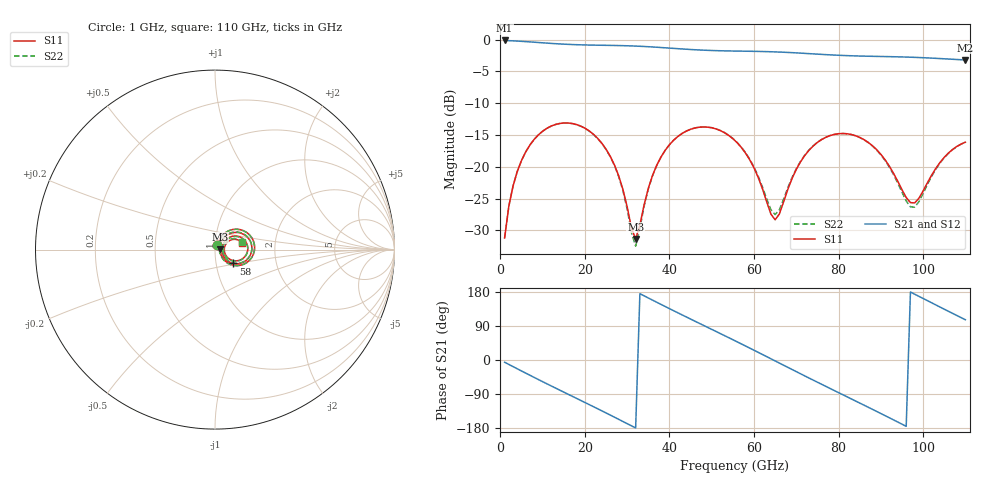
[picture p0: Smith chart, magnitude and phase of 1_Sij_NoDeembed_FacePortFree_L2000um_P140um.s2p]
! Touchstone file exported from HFSS 2024.2.0
!  File:  C:/Users/vaintrug/Documents/Ansoft_Workspace/Comparaison_Calculs_HFSS/1_VarPort.aedt
!  Generated:  03:22:18 PM Jan 21, 2025
!  Design:  1_NoDeembed_FacePortFree
!  Project:  1_VarPort
!  Setup:  Setup1
!  Solution:  Sweep
! Variables:
!  $Lenght = 2000um
!  $PortSize = 140um
!  Gap = 30um
!  Th = 2um
!  X_centralStrip = 20um
!  X_masse = 200um
!  Y_Sub = 2mm
!  Z_Box = 400um
!  Z_Sub = 200um
# GHz S MA R 50.000000
! Terminal data exported
! Port[1] = 1
! Port[2] = 2
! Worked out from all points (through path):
!   110 points, 1 GHz to 110 GHz, reference 50 ohm
!   highest |S21| = -0.13 dB at 1 GHz (marker M1); lowest = -3.2 dB at 110 GHz (marker M2)
!   group delay of S21, straight-line fit = 15.5 ps
!   lowest |S11| = -31.4 dB at 32 GHz (marker M3), VSWR 1.06, Z = 52.8 + j0.253 ohm
!   |S11| at or under -10 dB: start of sweep to end of sweep
!   |S22| runs from -32.5 to -13.1 dB; largest |S21 - S12| = 2e-15
!   S11 on the Smith chart (normalised r, x): 1 GHz: 1.03, +0.05; 58 GHz: 1.21, -0.19; 110 GHz: 1.35, +0.10
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1  0.02762 61.1  0.9854 -5.9  0.9854 -5.9  0.02761 61.1
! Gamma 5.86195813709679 50.0429598828536 5.80705193878081 49.9136504303091
! Port Impedance 50 0 50 0
3  0.07087 65.6  0.9782 -17.4  0.9782 -17.4  0.07085 65.6
7  0.1488 48.7  0.96 -40.3  0.96 -40.3  0.1487 48.6
13  0.2153 18.0  0.9298 -73.8  0.9298 -73.8  0.215 17.7
20  0.2014 -17.0  0.9086 -112.1  0.9086 -112.1  0.201 -17.5
27  0.1032 -46.2  0.8999 -151.0  0.8999 -151.0  0.1021 -47.6
32  0.02706 5.1  0.8898 -179.4  0.8898 -179.4  0.02381 6.7
35  0.06794 52.7  0.8798 163.6  0.8798 163.6  0.06711 55.7
38  0.1197 47.5  0.8672 146.7  0.8672 146.7  0.1195 49.3
43  0.1831 26.9  0.8448 119.0  0.8448 119.0  0.1833 28.1
47  0.2049 8.7  0.8298 97.1  0.8298 97.1  0.2052 9.8
51  0.1988 -9.4  0.8196 75.4  0.8196 75.4  0.1993 -8.2
56  0.1549 -30.3  0.813 48.0  0.813 48.0  0.1558 -28.9
58  0.1282 -37.1  0.8112 36.9  0.8112 36.9  0.1293 -35.4
65  0.03837 0.5  0.8011 -2.5  0.8011 -2.5  0.04216 0.4
70  0.09552 41.5  0.7869 -30.7  0.7869 -30.7  0.09682 39.5
74  0.146 30.6  0.7728 -53.1  0.7728 -53.1  0.1466 29.3
83  0.1797 -5.6  0.7469 -102.6  0.7469 -102.6  0.1795 -6.7
92  0.1014 -33.0  0.7351 -152.4  0.7351 -152.4  0.09972 -34.8
98  0.0521 5.6  0.7257 173.7  0.7257 173.7  0.04825 6.7
104  0.1084 30.7  0.7101 139.8  0.7101 139.8  0.1072 33.0
110  0.1563 13.3  0.6924 106.2  0.6924 106.2  0.1564 15.1
